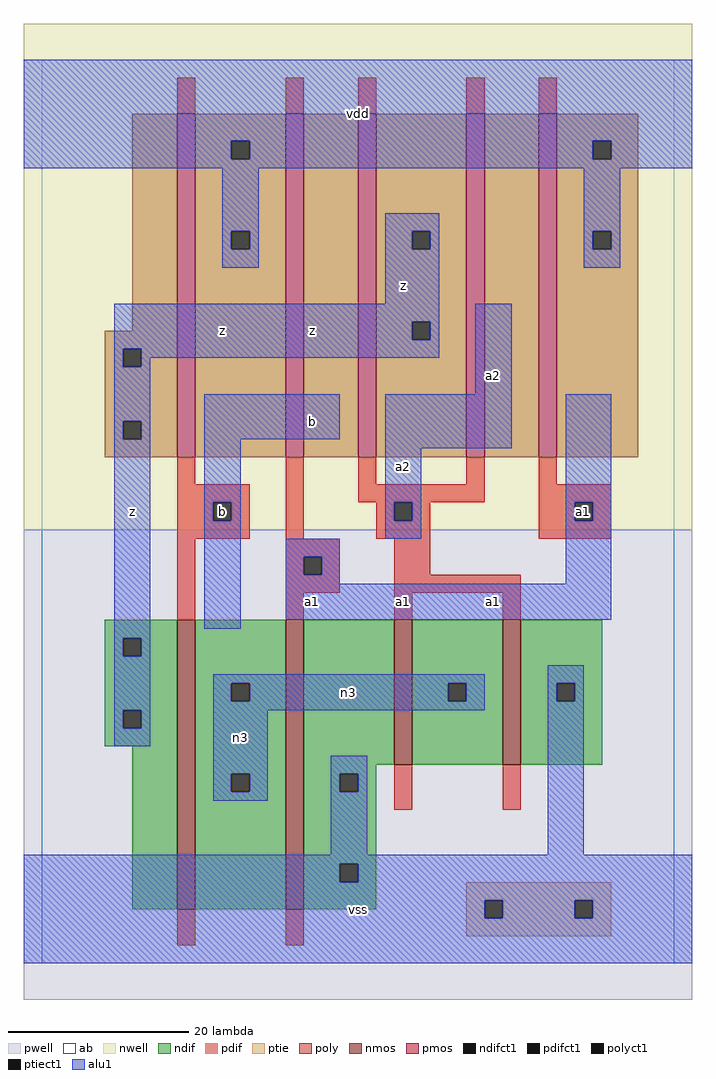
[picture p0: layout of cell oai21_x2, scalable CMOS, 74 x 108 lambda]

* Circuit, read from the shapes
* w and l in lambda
.subckt oai21_x2 a1 a2 b n3 vdd vss z
M1 n3 b z vss nfet w=32 l=2
M2 vss a1 n3 vss nfet w=32 l=2
M3 n3 a2 vss vss nfet w=16 l=2 m=2
M4 vdd b z n1 pfet w=38 l=2
M5 n2 a1 vdd n1 pfet w=38 l=2
M6 z a2 n2 n1 pfet w=38 l=2
M7 n4 a2 z n1 pfet w=38 l=2
M8 vdd a1 n4 n1 pfet w=38 l=2
.ends

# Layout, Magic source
magic
tech scmos
<< ab >>
rect 0 0 70 100
<< nwell >>
rect -2 48 72 104
<< pwell >>
rect -2 -4 72 48
<< poly >>
rect 15 94 17 98
rect 27 94 29 98
rect 35 94 37 98
rect 47 94 49 98
rect 55 94 57 98
rect 15 53 17 56
rect 15 51 23 53
rect 15 49 19 51
rect 21 49 23 51
rect 15 47 23 49
rect 27 47 29 56
rect 35 53 37 56
rect 47 53 49 56
rect 35 51 49 53
rect 55 53 57 56
rect 55 51 63 53
rect 37 49 39 51
rect 41 49 43 51
rect 37 47 43 49
rect 55 49 59 51
rect 61 49 63 51
rect 55 47 63 49
rect 15 38 17 47
rect 27 45 33 47
rect 27 43 29 45
rect 31 43 33 45
rect 27 41 33 43
rect 39 43 43 47
rect 39 41 53 43
rect 27 38 29 41
rect 39 38 41 41
rect 51 38 53 41
rect 39 17 41 22
rect 51 17 53 22
rect 15 2 17 6
rect 27 2 29 6
<< ndif >>
rect 7 36 15 38
rect 7 34 9 36
rect 11 34 15 36
rect 7 28 15 34
rect 7 26 9 28
rect 11 26 15 28
rect 7 24 15 26
rect 10 6 15 24
rect 17 31 27 38
rect 17 29 21 31
rect 23 29 27 31
rect 17 21 27 29
rect 17 19 21 21
rect 23 19 27 21
rect 17 6 27 19
rect 29 22 39 38
rect 41 31 51 38
rect 41 29 45 31
rect 47 29 51 31
rect 41 22 51 29
rect 53 31 62 38
rect 53 29 57 31
rect 59 29 62 31
rect 53 22 62 29
rect 29 21 37 22
rect 29 19 33 21
rect 35 19 37 21
rect 29 11 37 19
rect 29 9 33 11
rect 35 9 37 11
rect 29 6 37 9
<< pdif >>
rect 10 70 15 94
rect 7 68 15 70
rect 7 66 9 68
rect 11 66 15 68
rect 7 60 15 66
rect 7 58 9 60
rect 11 58 15 60
rect 7 56 15 58
rect 17 91 27 94
rect 17 89 21 91
rect 23 89 27 91
rect 17 81 27 89
rect 17 79 21 81
rect 23 79 27 81
rect 17 56 27 79
rect 29 56 35 94
rect 37 81 47 94
rect 37 79 41 81
rect 43 79 47 81
rect 37 71 47 79
rect 37 69 41 71
rect 43 69 47 71
rect 37 56 47 69
rect 49 56 55 94
rect 57 91 66 94
rect 57 89 61 91
rect 63 89 66 91
rect 57 81 66 89
rect 57 79 61 81
rect 63 79 66 81
rect 57 56 66 79
<< alu1 >>
rect -2 91 72 100
rect -2 89 21 91
rect 23 89 61 91
rect 63 89 72 91
rect -2 88 72 89
rect 20 81 24 88
rect 20 79 21 81
rect 23 79 24 81
rect 20 77 24 79
rect 38 81 44 83
rect 38 79 41 81
rect 43 79 44 81
rect 38 73 44 79
rect 60 81 64 88
rect 60 79 61 81
rect 63 79 64 81
rect 60 77 64 79
rect 8 71 44 73
rect 8 69 41 71
rect 43 69 44 71
rect 8 68 44 69
rect 8 66 9 68
rect 11 67 44 68
rect 11 66 12 67
rect 8 60 12 66
rect 48 63 52 73
rect 8 58 9 60
rect 11 58 12 60
rect 8 36 12 58
rect 18 58 33 63
rect 18 51 22 58
rect 18 49 19 51
rect 21 49 22 51
rect 18 37 22 49
rect 38 57 52 63
rect 38 51 42 57
rect 38 49 39 51
rect 41 49 42 51
rect 38 47 42 49
rect 58 51 63 63
rect 58 49 59 51
rect 61 49 63 51
rect 27 45 33 47
rect 27 43 29 45
rect 31 43 33 45
rect 27 42 33 43
rect 58 42 63 49
rect 27 38 63 42
rect 8 34 9 36
rect 11 34 12 36
rect 8 28 12 34
rect 8 26 9 28
rect 11 26 12 28
rect 8 24 12 26
rect 19 31 49 32
rect 19 29 21 31
rect 23 29 45 31
rect 47 29 49 31
rect 19 28 49 29
rect 56 31 60 33
rect 56 29 57 31
rect 59 29 60 31
rect 19 21 25 28
rect 19 19 21 21
rect 23 19 25 21
rect 19 18 25 19
rect 32 21 36 23
rect 32 19 33 21
rect 35 19 36 21
rect 32 12 36 19
rect 56 12 60 29
rect -2 11 72 12
rect -2 9 33 11
rect 35 9 72 11
rect -2 7 72 9
rect -2 5 49 7
rect 51 5 59 7
rect 61 5 72 7
rect -2 0 72 5
<< ptie >>
rect 47 7 63 9
rect 47 5 49 7
rect 51 5 59 7
rect 61 5 63 7
rect 47 3 63 5
<< nmos >>
rect 15 6 17 38
rect 27 6 29 38
rect 39 22 41 38
rect 51 22 53 38
<< pmos >>
rect 15 56 17 94
rect 27 56 29 94
rect 35 56 37 94
rect 47 56 49 94
rect 55 56 57 94
<< polyct1 >>
rect 19 49 21 51
rect 39 49 41 51
rect 59 49 61 51
rect 29 43 31 45
<< ndifct1 >>
rect 9 34 11 36
rect 9 26 11 28
rect 21 29 23 31
rect 21 19 23 21
rect 45 29 47 31
rect 57 29 59 31
rect 33 19 35 21
rect 33 9 35 11
<< ptiect1 >>
rect 49 5 51 7
rect 59 5 61 7
<< pdifct1 >>
rect 9 66 11 68
rect 9 58 11 60
rect 21 89 23 91
rect 21 79 23 81
rect 41 79 43 81
rect 41 69 43 71
rect 61 89 63 91
rect 61 79 63 81
<< labels >>
rlabel alu1 22 25 22 25 6 n3
rlabel alu1 10 50 10 50 6 z
rlabel polyct1 20 50 20 50 6 b
rlabel alu1 20 70 20 70 6 z
rlabel alu1 35 6 35 6 6 vss
rlabel alu1 30 40 30 40 6 a1
rlabel alu1 30 60 30 60 6 b
rlabel alu1 30 70 30 70 6 z
rlabel alu1 35 94 35 94 6 vdd
rlabel alu1 34 30 34 30 6 n3
rlabel alu1 50 40 50 40 6 a1
rlabel alu1 40 40 40 40 6 a1
rlabel alu1 40 55 40 55 6 a2
rlabel alu1 40 75 40 75 6 z
rlabel alu1 50 65 50 65 6 a2
rlabel polyct1 60 50 60 50 6 a1
<< end >>
